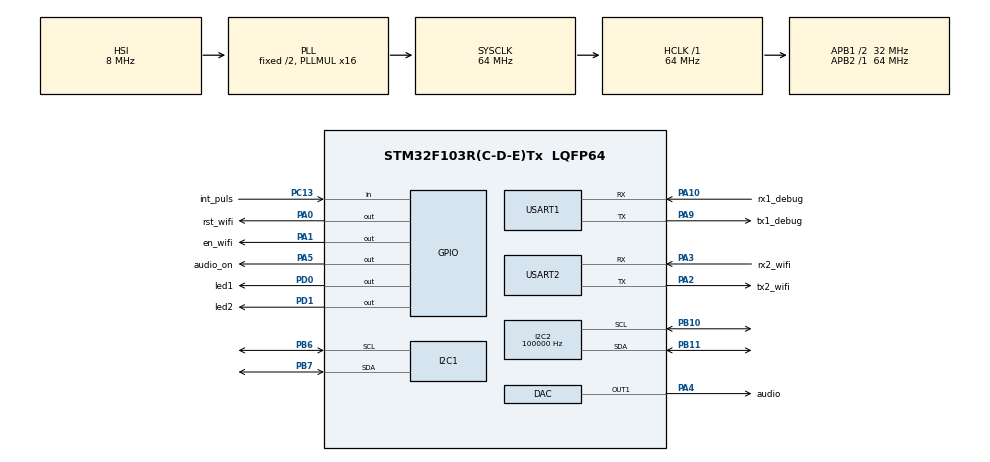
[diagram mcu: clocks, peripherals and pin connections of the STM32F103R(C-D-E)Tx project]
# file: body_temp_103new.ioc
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I2C1.I2C_Mode=I2C_Fast
I2C2.ClockSpeed=100000
I2C2.I2C_Mode=I2C_Fast
Mcu.Family=STM32F1
Mcu.Name=STM32F103R(C-D-E)Tx
Mcu.Package=LQFP64
NVIC.PriorityGroup=NVIC_PRIORITYGROUP_4
NVIC.TIM2_IRQn=true\:0\:0\:false\:false\:true\:true\:true
NVIC.TIM4_IRQn=true\:0\:0\:false\:false\:true\:true\:true
NVIC.USART1_IRQn=true\:0\:0\:false\:false\:true\:true\:true
NVIC.USART2_IRQn=true\:0\:0\:false\:false\:true\:true\:true
PA0-WKUP.GPIO_Label=rst_wifi
PA0-WKUP.Signal=GPIO_Output
PA1.GPIO_Label=en_wifi
PA1.Signal=GPIO_Output
PA10.GPIO_Label=rx1_debug
PA10.Mode=Asynchronous
PA10.Signal=USART1_RX
PA13.Mode=Trace_Asynchronous_SW
PA13.Signal=SYS_JTMS-SWDIO
PA14.Mode=Trace_Asynchronous_SW
PA14.Signal=SYS_JTCK-SWCLK
PA2.GPIO_Label=tx2_wifi
PA2.Mode=Asynchronous
PA2.Signal=USART2_TX
PA3.GPIO_Label=rx2_wifi
PA3.Mode=Asynchronous
PA3.Signal=USART2_RX
PA4.GPIO_Label=audio
PA4.Signal=COMP_DAC1_group
PA5.GPIO_Label=audio_on
PA5.Signal=GPIO_Output
PA9.GPIO_Label=tx1_debug
PA9.Mode=Asynchronous
PA9.Signal=USART1_TX
PB10.Mode=I2C
PB10.Signal=I2C2_SCL
PB11.Mode=I2C
PB11.Signal=I2C2_SDA
PB3.Mode=Trace_Asynchronous_SW
PB3.Signal=SYS_JTDO-TRACESWO
PB6.Mode=I2C
PB6.Signal=I2C1_SCL
PB7.Mode=I2C
PB7.Signal=I2C1_SDA
PC13-TAMPER-RTC.GPIO_Label=int_puls
PC13-TAMPER-RTC.GPIO_PuPd=GPIO_NOPULL
PC13-TAMPER-RTC.Signal=GPIO_Input
PD0-OSC_IN.GPIO_Label=led1
PD0-OSC_IN.Signal=GPIO_Output
PD1-OSC_OUT.GPIO_Label=led2
PD1-OSC_OUT.Signal=GPIO_Output
ProjectManager.HeapSize=0x200
ProjectManager.StackSize=0x400
ProjectManager.TargetToolchain=MDK-ARM V5
RCC.AHBFreq_Value=64000000
RCC.APB1CLKDivider=RCC_HCLK_DIV2
RCC.APB1Freq_Value=32000000
RCC.APB1TimFreq_Value=64000000
RCC.APB2Freq_Value=64000000
RCC.APB2TimFreq_Value=64000000
RCC.HCLKFreq_Value=64000000
RCC.PLLMUL=RCC_PLL_MUL16
RCC.RTCClockSelection=RCC_RTCCLKSOURCE_LSE
RCC.SYSCLKFreq_VALUE=64000000
RCC.SYSCLKSource=RCC_SYSCLKSOURCE_PLLCLK
RCC.USBFreq_Value=64000000
SH.COMP_DAC1_group.0=DAC_OUT1,DAC_OUT1
TIM2.Period=1
TIM2.Prescaler=2000
TIM4.Period=64
TIM4.Prescaler=6400
USART1.VirtualMode=VM_ASYNC
USART2.VirtualMode=VM_ASYNC
VP_TIM2_VS_ClockSourceINT.Mode=Internal
VP_TIM4_VS_ClockSourceINT.Mode=Internal
board=custom

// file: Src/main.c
/* USER CODE BEGIN Header */
/**
  ******************************************************************************
  * @file           : main.c
  * @brief          : Main program body
  ******************************************************************************
  * @attention
  *
  * <h2><center>&copy; Copyright (c) 2020 STMicroelectronics.
  * All rights reserved.</center></h2>
  *
  * This software component is licensed by ST under BSD 3-Clause license,
  * the "License"; You may not use this file except in compliance with the
  * License. You may obtain a copy of the License at:
  *                        opensource.org/licenses/BSD-3-Clause
  *
  ******************************************************************************
  */
/* USER CODE END Header */

#include "main.h"
#include "dac.h"
#include "i2c.h"
#include "tim.h"
#include "usart.h"
#include "gpio.h"

/* USER CODE BEGIN Includes */
#include <string.h>
#include "function.h"
#include "Si7021_driver.h"
#include "printfdebug.h"
#include "max30100_for_stm32_hal.h"
#include "hr_spo2_math.h"

float Puls_serv=0.0;
float Temp_serv=0.0;
uint8_t delay_send=0;
uint8_t math_start=0;																		//флаг того, что массивы пульса и кислорода заполнены, пора их обсчитывать
extern float32_t chanel_ir[BLOCK_SIZE];									//массив с показаниями пульса
extern float32_t chanel_red[BLOCK_SIZE];								//массив с показаниями кислорода

uint16_t wdt_wifi=0;
/* USER CODE END Includes */

void SystemClock_Config(void);

/* USER CODE BEGIN 0 */
__STATIC_INLINE void DelayMicro(__IO uint32_t micros)
{
        micros *=(SystemCoreClock / 1000000) / 5;
        while (micros--);
}

/* USER CODE END 0 */

int main(void)
{

  /* MCU Configuration--------------------------------------------------------*/

  /* Reset of all peripherals, Initializes the Flash interface and the Systick. */
  HAL_Init();

  /* Configure the system clock */
  SystemClock_Config();

  /* Initialize all configured peripherals */
  MX_GPIO_Init();
  MX_DAC_Init();
  MX_USART1_UART_Init();
  MX_USART2_UART_Init();
  MX_TIM4_Init();
  MX_TIM2_Init();
  MX_I2C1_Init();
  MX_I2C2_Init();
  /* USER CODE BEGIN 2 */

	//WIFI_DIS;
	//GPIOA->ODR|=(1<<1);
	DelayMicro(1);
  /* USER CODE END 2 */
  /* Infinite loop */
  /* USER CODE BEGIN WHILE */
	UART_HandleTypeDef huar;
	huar=huart1;
	while(1){
		HAL_UART_Transmit(&huar,"123\r\n",5,100);
		HAL_Delay(100);
	}
	//GPIOA->ODR|=(1<<5);																								//выключение TPA301
	//WIFI_EN;
	hr_filter_init();																									//инициализация фильтров для вычисления пульса и кислорода в крови
	//while (rst_Si7021()!=0) HAL_Delay(200);														//инициализация датчика температуры
	while (!MAX30100_Init(&hi2c2, &huart1)) HAL_Delay(200);						//инициализация датчика пульса и кислорода
	//wifi_on();																												//первоначальная инициализация и включение wifi модуля

	NVIC_EnableIRQ(USART1_IRQn); USART1->CR1|=USART_CR1_RXNEIE;       //разрешение прерывания по приёму данных UART1. Прерывание для debug

	debug((uint8_t*)"Start system\r\n",0);
	char buf[100]={0};
	//sprintf(buf,"%d\r\n",MAX30100_ReadReg(MAX30100_REVISION));
	//debug((uint8_t*)buf,0);

  while (1)
  {
		UART_HandleTypeDef huar;
		huar=huart1;

		HAL_UART_Transmit(&huart1,"123\r\n",5,100);
		if(math_start){															//если массив с данными пульса и кислорода накопили и TCP соединение создано

			hr_math_(chanel_red,chanel_ir);																//обработать массивы пульса и кислорода

			math_start=0;																									//сбросить флаг
			sprintf(buf,"Temp: %.1f\tPuls: %d\tSpO2=%d\r\n",r_single_Si7021(),(uint16_t)Puls_serv,SpO2);
			//debug((uint8_t*)buf,0);
		}

		wdt_wifi++;																											//сторожевой таймер вайфая, сбрасывается, если был приём от вайфая
		if(wdt_wifi>=30) {wdt_wifi=0; sys_flags=0; com_flags=0;}				//если в течении некоторого времени не было приёма от вайфая, то сбрасываем все флаги состояний, что инициализирует перезагрузку вайфая
		commands(0);
    /* USER CODE END WHILE */

  }
}

void SystemClock_Config(void)
{
  RCC_OscInitTypeDef RCC_OscInitStruct = {0};
  RCC_ClkInitTypeDef RCC_ClkInitStruct = {0};

  /** Initializes the CPU, AHB and APB busses clocks
  */
  RCC_OscInitStruct.OscillatorType = RCC_OSCILLATORTYPE_HSI;
  RCC_OscInitStruct.HSIState = RCC_HSI_ON;
  RCC_OscInitStruct.HSICalibrationValue = RCC_HSICALIBRATION_DEFAULT;
  RCC_OscInitStruct.PLL.PLLState = RCC_PLL_ON;
  RCC_OscInitStruct.PLL.PLLSource = RCC_PLLSOURCE_HSI_DIV2;
  RCC_OscInitStruct.PLL.PLLMUL = RCC_PLL_MUL16;
  if (HAL_RCC_OscConfig(&RCC_OscInitStruct) != HAL_OK)
  {
    Error_Handler();
  }
  /** Initializes the CPU, AHB and APB busses clocks
  */
  RCC_ClkInitStruct.ClockType = RCC_CLOCKTYPE_HCLK|RCC_CLOCKTYPE_SYSCLK
                              |RCC_CLOCKTYPE_PCLK1|RCC_CLOCKTYPE_PCLK2;
  RCC_ClkInitStruct.SYSCLKSource = RCC_SYSCLKSOURCE_PLLCLK;
  RCC_ClkInitStruct.AHBCLKDivider = RCC_SYSCLK_DIV1;
  RCC_ClkInitStruct.APB1CLKDivider = RCC_HCLK_DIV2;
  RCC_ClkInitStruct.APB2CLKDivider = RCC_HCLK_DIV1;

  if (HAL_RCC_ClockConfig(&RCC_ClkInitStruct, FLASH_LATENCY_2) != HAL_OK)
  {
    Error_Handler();
  }
}

void Error_Handler(void)
{
}

/************************ (C) COPYRIGHT STMicroelectronics *****END OF FILE****/
